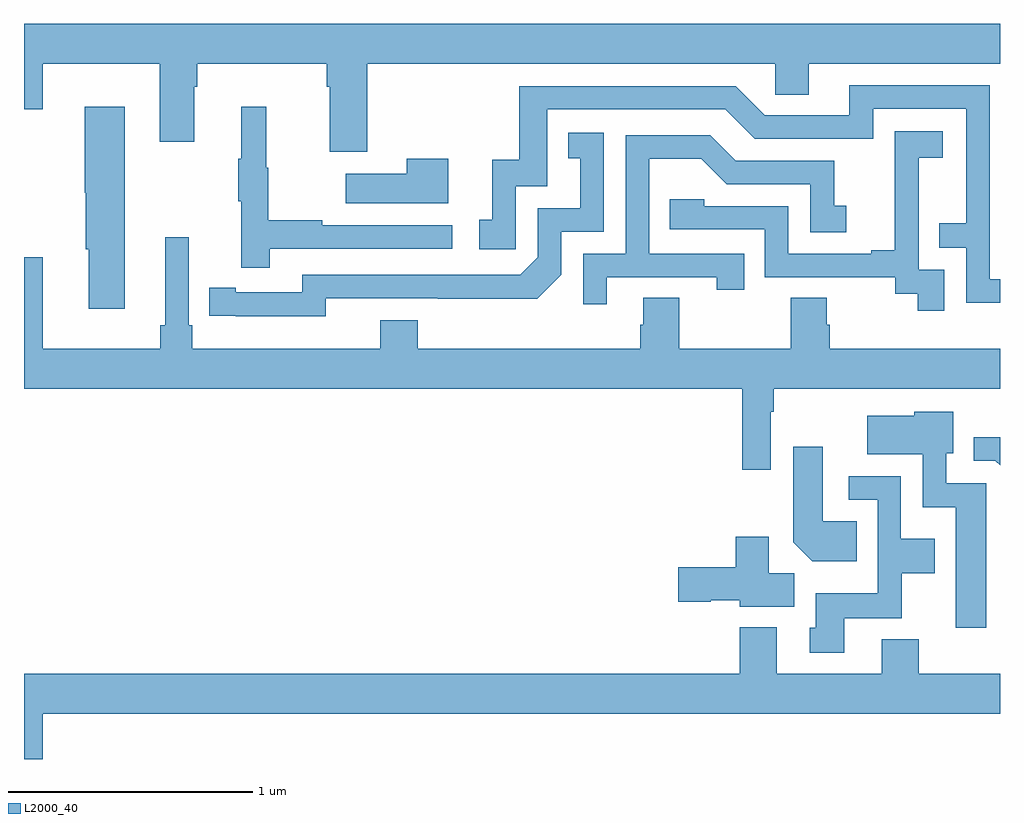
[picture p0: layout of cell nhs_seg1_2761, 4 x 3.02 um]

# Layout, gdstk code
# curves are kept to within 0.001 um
import gdstk
lib = gdstk.Library(unit=1e-6, precision=1e-09)
def P(c, l, *ps):  # polygons
    for p in ps: c.add(gdstk.Polygon(p, *l))
L2000_40 = (2000, 40)

nhs_seg1_2761 = lib.new_cell('nhs_seg1_2761')
P(nhs_seg1_2761, L2000_40, [(262.406,529.088),(264.078,529.088),(264.078,528.961),(264.217,528.961),(264.217,529.088),(265,529.088),(265,529.252),(261,529.252),(261,528.9),(261.076,528.9),(261.076,529.088),(261.557,529.088),(261.557,528.768),(261.697,528.768),(261.697,528.992),(261.71,528.992),(261.71,529.088),(262.241,529.088),(262.241,528.992),(262.253,528.992),(262.253,528.726),(262.406,528.726)],
  [(265,528.204),(264.957,528.204),(264.957,528.999),(264.383,528.999),(264.383,528.876),(264.036,528.876),(263.916,528.996),(263.029,528.996),(263.029,528.694),(262.919,528.694),(262.919,528.447),(262.866,528.447),(262.866,528.327),(263.016,528.327),(263.016,528.585),(263.145,528.585),(263.145,528.9),(263.874,528.9),(263.994,528.78),(264.48,528.78),(264.48,528.903),(264.861,528.903),(264.861,528.434),(264.751,528.434),(264.751,528.333),(264.861,528.333),(264.861,528.108),(265,528.108)],
  [(261.412,528.91),(261.248,528.91),(261.248,528.558),(261.254,528.558),(261.254,528.327),(261.266,528.327),(261.266,528.084),(261.412,528.084)],
  [(262.007,528.33),(262.756,528.33),(262.756,528.426),(262.223,528.426),(262.223,528.446),(262,528.446),(262,528.66),(261.992,528.66),(261.992,528.91),(261.89,528.91),(261.89,528.697),(261.879,528.697),(261.879,528.523),(261.89,528.523),(261.89,528.252),(262.007,528.252)],
  [(264.771,528.243),(264.666,528.243),(264.666,528.473),(264.668,528.473),(264.668,528.701),(264.766,528.701),(264.766,528.811),(264.568,528.811),(264.568,528.605),(264.569,528.605),(264.569,528.322),(264.473,528.322),(264.473,528.309),(264.132,528.309),(264.132,528.504),(263.787,528.504),(263.787,528.531),(263.647,528.531),(263.647,528.408),(264.036,528.408),(264.036,528.213),(264.57,528.213),(264.57,528.145),(264.663,528.145),(264.663,528.075),(264.771,528.075)],
  [(262.236,528.126),(263.104,528.125),(263.202,528.222),(263.202,528.399),(263.376,528.399),(263.376,528.805),(263.23,528.805),(263.23,528.699),(263.279,528.699),(263.279,528.495),(263.106,528.495),(263.106,528.294),(263.034,528.222),(262.14,528.222),(262.14,528.15),(261.868,528.15),(261.868,528.17),(261.76,528.17),(261.76,528.054),(262.236,528.053)],
  [(263.389,528.213),(263.84,528.213),(263.84,528.162),(263.951,528.162),(263.951,528.309),(263.562,528.309),(263.562,528.698),(263.776,528.698),(263.88,528.594),(264.222,528.594),(264.222,528.396),(264.37,528.396),(264.37,528.505),(264.321,528.505),(264.321,528.69),(263.917,528.69),(263.812,528.795),(263.466,528.795),(263.466,528.309),(263.292,528.309),(263.292,528.102),(263.389,528.102)],
  [(262.738,528.697),(262.568,528.697),(262.568,528.637),(262.319,528.637),(262.319,528.515),(262.738,528.515)],
  [(264.06,527.66),(264.073,527.66),(264.073,527.756),(265,527.756),(265,527.92),(264.302,527.92),(264.302,528.018),(264.289,528.018),(264.289,528.128),(264.142,528.128),(264.142,527.92),(263.685,527.92),(263.685,528.128),(263.537,528.128),(263.537,528.018),(263.525,528.018),(263.525,527.92),(262.613,527.92),(262.613,528.037),(262.46,528.037),(262.46,527.92),(261.689,527.92),(261.689,528.016),(261.675,528.016),(261.675,528.376),(261.578,528.376),(261.578,528.016),(261.559,528.016),(261.559,527.92),(261.076,527.92),(261.076,528.295),(261,528.295),(261,527.756),(263.944,527.756),(263.944,527.424),(264.06,527.424)],
  [(264.943,527.367),(264.78,527.367),(264.78,527.49),(264.808,527.49),(264.808,527.662),(264.648,527.662),(264.648,527.644),(264.456,527.644),(264.456,527.486),(264.684,527.486),(264.684,527.27),(264.818,527.27),(264.818,526.776),(264.943,526.776)],
  [(265,527.557),(264.893,527.557),(264.893,527.46),(264.981,527.46),(265,527.441)],
  [(264.413,527.212),(264.274,527.212),(264.274,527.518),(264.152,527.518),(264.152,527.126),(264.23,527.048),(264.413,527.048)],
  [(264.361,526.814),(264.597,526.814),(264.597,527),(264.733,527),(264.733,527.14),(264.594,527.14),(264.594,527.397),(264.381,527.397),(264.381,527.301),(264.498,527.301),(264.498,526.918),(264.245,526.918),(264.245,526.776),(264.221,526.776),(264.221,526.674),(264.361,526.674)],
  [(264.157,527),(264.052,527),(264.052,527.149),(263.918,527.149),(263.918,527.024),(263.682,527.024),(263.682,526.882),(263.814,526.882),(263.814,526.889),(263.934,526.889),(263.934,526.862),(264.157,526.862)],
  [(261.076,526.424),(265,526.424),(265,526.588),(264.668,526.588),(264.668,526.729),(264.515,526.729),(264.515,526.588),(264.085,526.588),(264.085,526.777),(263.933,526.777),(263.933,526.588),(261,526.588),(261,526.236),(261.076,526.236)])

lib.write_gds('nhs_seg1_2761.gds')
